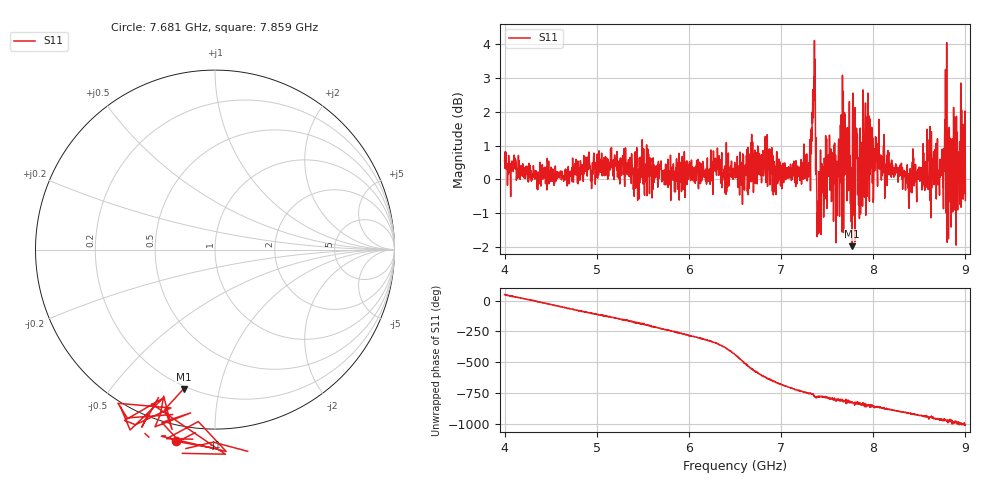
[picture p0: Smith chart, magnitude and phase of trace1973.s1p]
! Created with skrf 1.8.0 (http://scikit-rf.org).
# Hz S RI R 50.0
!freq ReS11 ImS11
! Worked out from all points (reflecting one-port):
!   1601 points, 4 GHz to 9 GHz, reference 50 ohm
!   lowest |S11| = -2.0 dB at 7.772 GHz (marker M1), VSWR 8.80, Z = 9.24 - j39.1 ohm
!   phase of S11 starts at 49 deg and turns -1058 deg over the sweep
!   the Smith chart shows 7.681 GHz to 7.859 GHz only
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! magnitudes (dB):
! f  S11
! 4 GHz  0.5
! 4.625 GHz  0.0
! 5.25 GHz  -0.1
! 5.875 GHz  0.2
! 6.5 GHz  0.2
! 7.125 GHz  0.3
! 7.294 GHz  0.3
! 7.347 GHz  1.9
! 7.362 GHz  4.1
! 7.4 GHz  -0.7
! 7.412 GHz  0.2
! 7.503 GHz  0.1
! 7.616 GHz  0.4
! 7.669 GHz  1.2
! 7.719 GHz  1.5
! 7.75 GHz  0.1
! 7.772 GHz  -2.0
! 7.8 GHz  -1.9
! 7.859 GHz  1.5
! 7.962 GHz  1.8
! 8.375 GHz  -0.1
! 8.566 GHz  0.2
! 8.738 GHz  0.5
! 8.775 GHz  1.3
! 8.825 GHz  1.5
! 8.919 GHz  -0.1
! 8.972 GHz  1.3
! 9 GHz  -0.6
